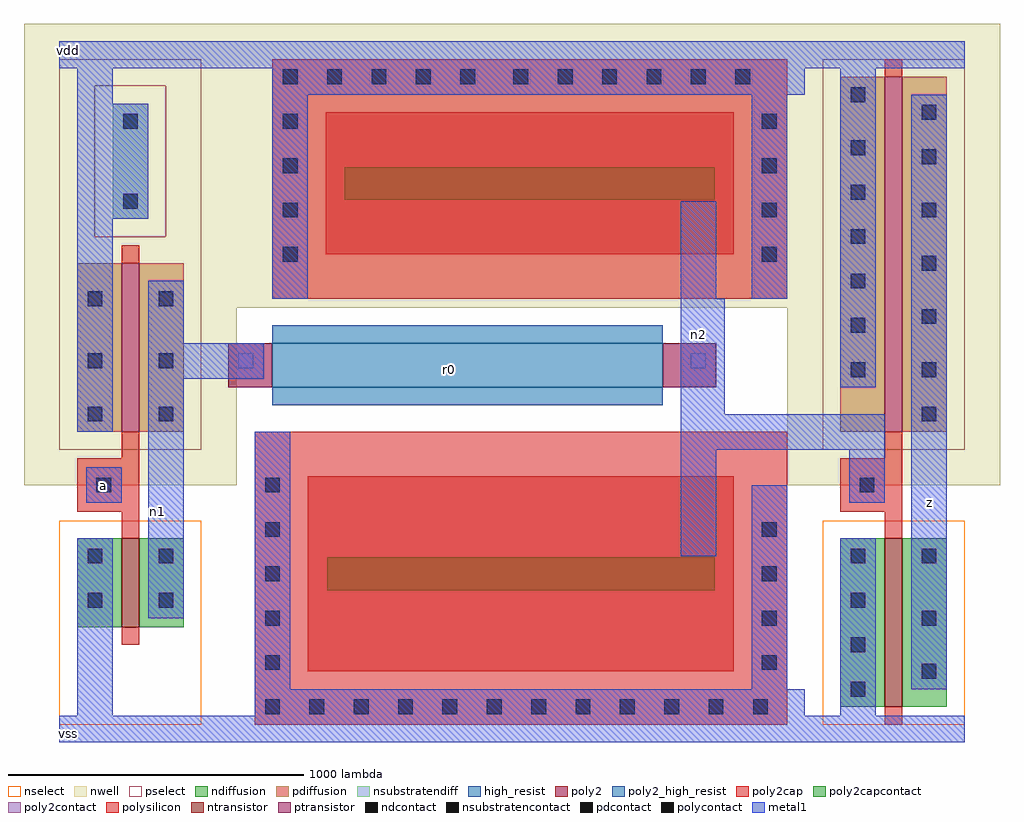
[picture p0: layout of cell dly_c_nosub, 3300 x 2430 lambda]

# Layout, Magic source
magic
tech amic5n
<< nwell >>
rect -120 1470 3180 2430
rect -120 870 600 1470
rect 2460 870 3180 1470
<< nselect >>
rect 120 1710 360 2220
rect 0 60 480 750
rect 2580 60 3060 750
<< pselect >>
rect 0 2220 480 2310
rect 0 1710 120 2220
rect 360 1710 480 2220
rect 0 990 480 1710
rect 2580 990 3060 2310
<< poly2 >>
rect 570 1200 720 1350
rect 2040 1200 2220 1350
<< poly2capcontact >>
rect 965 1835 2215 1945
<< poly2capcontact >>
rect 905 515 2215 625
<< poly2cap >>
rect 900 1650 2280 2130
rect 840 240 2280 900
<< poly2contact >>
rect 605 1265 655 1315
<< poly2contact >>
rect 2135 1265 2185 1315
<< ntransistor >>
rect 210 390 270 690
rect 2790 120 2850 690
<< ptransistor >>
rect 210 1050 270 1620
rect 2790 1050 2850 2250
<< ndiffusion >>
rect 60 390 210 690
rect 270 390 420 690
rect 2640 120 2790 690
rect 2850 120 3000 690
<< pdiffusion >>
rect 60 1050 210 1620
rect 270 1050 420 1620
rect 2640 1050 2790 2250
rect 2850 1050 3000 2250
<< nsubstratendiff >>
rect 180 1770 300 2160
<< polysilicon >>
rect 210 1620 270 1680
rect 720 1500 2460 2310
rect 2790 2250 2850 2310
rect 210 960 270 1050
rect 60 780 270 960
rect 210 690 270 780
rect 210 330 270 390
rect 660 60 2460 1050
rect 2790 960 2850 1050
rect 2640 780 2850 960
rect 2790 690 2850 780
rect 2790 60 2850 120
<< polycontact >>
rect 755 2225 805 2275
<< polycontact >>
rect 905 2225 955 2275
<< polycontact >>
rect 1055 2225 1105 2275
<< polycontact >>
rect 1205 2225 1255 2275
<< polycontact >>
rect 1355 2225 1405 2275
<< polycontact >>
rect 1535 2225 1585 2275
<< polycontact >>
rect 1685 2225 1735 2275
<< polycontact >>
rect 1835 2225 1885 2275
<< polycontact >>
rect 1985 2225 2035 2275
<< polycontact >>
rect 2135 2225 2185 2275
<< polycontact >>
rect 2285 2225 2335 2275
<< pdcontact >>
rect 2675 2165 2725 2215
<< nsubstratencontact >>
rect 215 2075 265 2125
<< polycontact >>
rect 755 2075 805 2125
<< polycontact >>
rect 2375 2075 2425 2125
<< pdcontact >>
rect 2915 2105 2965 2155
<< pdcontact >>
rect 2675 1985 2725 2035
<< polycontact >>
rect 755 1925 805 1975
<< polycontact >>
rect 2375 1925 2425 1975
<< pdcontact >>
rect 2915 1955 2965 2005
<< nsubstratencontact >>
rect 215 1805 265 1855
<< pdcontact >>
rect 2675 1835 2725 1885
<< polycontact >>
rect 755 1775 805 1825
<< polycontact >>
rect 2375 1775 2425 1825
<< pdcontact >>
rect 2915 1775 2965 1825
<< pdcontact >>
rect 2675 1685 2725 1735
<< polycontact >>
rect 755 1625 805 1675
<< polycontact >>
rect 2375 1625 2425 1675
<< pdcontact >>
rect 2915 1595 2965 1645
<< pdcontact >>
rect 2675 1535 2725 1585
<< pdcontact >>
rect 95 1475 145 1525
<< pdcontact >>
rect 335 1475 385 1525
<< pdcontact >>
rect 2675 1385 2725 1435
<< pdcontact >>
rect 2915 1415 2965 1465
<< pdcontact >>
rect 95 1265 145 1315
<< pdcontact >>
rect 335 1265 385 1315
<< pdcontact >>
rect 2675 1235 2725 1285
<< pdcontact >>
rect 2915 1235 2965 1285
<< pdcontact >>
rect 95 1085 145 1135
<< pdcontact >>
rect 335 1085 385 1135
<< pdcontact >>
rect 2915 1085 2965 1135
<< polycontact >>
rect 125 845 175 895
<< polycontact >>
rect 695 845 745 895
<< polycontact >>
rect 2705 845 2755 895
<< polycontact >>
rect 695 695 745 745
<< polycontact >>
rect 2375 695 2425 745
<< ndcontact >>
rect 95 605 145 655
<< ndcontact >>
rect 335 605 385 655
<< ndcontact >>
rect 2675 605 2725 655
<< ndcontact >>
rect 2915 605 2965 655
<< polycontact >>
rect 695 545 745 595
<< polycontact >>
rect 2375 545 2425 595
<< ndcontact >>
rect 95 455 145 505
<< ndcontact >>
rect 335 455 385 505
<< ndcontact >>
rect 2675 455 2725 505
<< polycontact >>
rect 695 395 745 445
<< polycontact >>
rect 2375 395 2425 445
<< ndcontact >>
rect 2915 395 2965 445
<< ndcontact >>
rect 2675 305 2725 355
<< polycontact >>
rect 695 245 745 295
<< polycontact >>
rect 2375 245 2425 295
<< ndcontact >>
rect 2915 215 2965 265
<< ndcontact >>
rect 2675 155 2725 205
<< polycontact >>
rect 695 95 745 145
<< polycontact >>
rect 845 95 895 145
<< polycontact >>
rect 995 95 1045 145
<< polycontact >>
rect 1145 95 1195 145
<< polycontact >>
rect 1295 95 1345 145
<< polycontact >>
rect 1445 95 1495 145
<< polycontact >>
rect 1595 95 1645 145
<< polycontact >>
rect 1745 95 1795 145
<< polycontact >>
rect 1895 95 1945 145
<< polycontact >>
rect 2045 95 2095 145
<< polycontact >>
rect 2195 95 2245 145
<< polycontact >>
rect 2345 95 2395 145
<< metal1 >>
rect 0 2280 3060 2370
rect 60 2160 180 2280
rect 720 2190 2520 2280
rect 60 1770 300 2160
rect 60 1050 180 1770
rect 300 1350 420 1560
rect 720 1500 840 2190
rect 2100 1500 2220 1830
rect 2340 1500 2460 2190
rect 300 1230 690 1350
rect 90 810 210 930
rect 60 90 180 690
rect 300 420 420 1230
rect 2100 1110 2250 1500
rect 2640 1200 2760 2280
rect 660 180 780 1050
rect 2100 990 2790 1110
rect 2100 630 2220 990
rect 2340 180 2460 870
rect 2670 810 2790 990
rect 660 90 2520 180
rect 2640 90 2760 690
rect 2880 180 3000 2190
rect 0 0 3060 90
<< high_resist >>
rect 720 1350 2040 1410
rect 720 1140 2040 1200
<< poly2_high_resist >>
rect 720 1200 2040 1350
<< labels >>
flabel metal1 s 330 780 330 780 2 FreeSans 400 0 0 0 n1
flabel metal1 s 150 870 150 870 2 FreeSans 400 0 0 0 a
port 2 ne
flabel metal1 s 30 2340 30 2340 2 FreeSans 400 0 0 0 vdd
port 3 ne
flabel metal1 s 30 30 30 30 2 FreeSans 400 0 0 0 vss
port 4 ne
flabel metal1 s 2160 1380 2160 1380 2 FreeSans 400 0 0 0 n2
flabel metal1 s 2940 810 2940 810 2 FreeSans 400 0 0 0 z
port 1 ne
flabel poly2_high_resist s 1320 1260 1320 1260 2 FreeSans 400 0 0 0 r0
<< end >>
